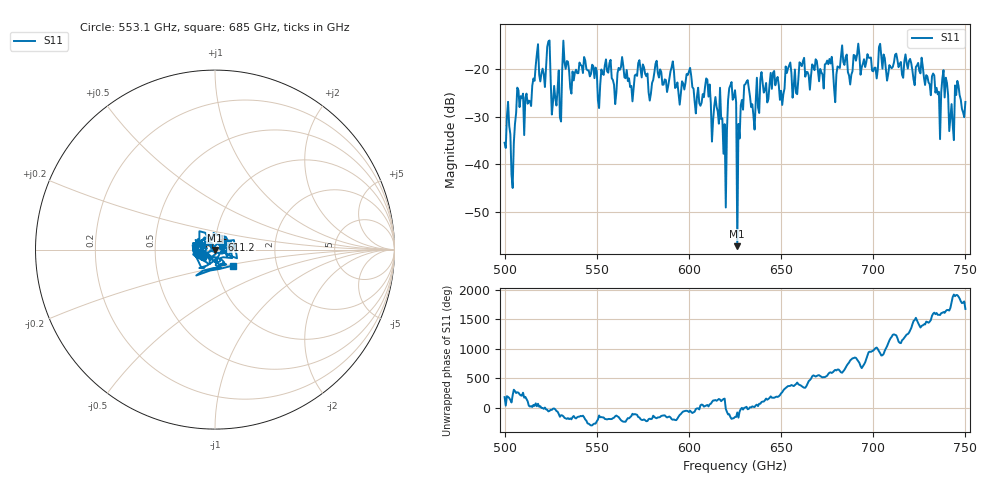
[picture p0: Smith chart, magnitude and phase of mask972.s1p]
!Created with skrf (http://scikit-rf.org).
# GHz S MA R 50.0
!freq magS11 angS11
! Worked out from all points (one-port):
!   401 points, 500 GHz to 750 GHz, reference 50 ohm
!   lowest |S11| = -57.3 dB at 626.2 GHz (marker M1), VSWR 1.00, Z = 50 - j0.136 ohm
!   |S11| at or under -10 dB: start of sweep to end of sweep
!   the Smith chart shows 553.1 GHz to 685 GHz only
!   S11 on the Smith chart (normalised r, x): 553.1 GHz: 0.84, -0.04; 611.2 GHz: 1.08, +0.12; 685 GHz: 1.20, -0.22
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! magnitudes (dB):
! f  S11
! 500 GHz  -35.5
! 504.4 GHz  -45.0
! 507.5 GHz  -24.4
! 513.8 GHz  -26.8
! 516.9 GHz  -19.3
! 523.8 GHz  -14.1
! 526.9 GHz  -23.5
! 531.2 GHz  -20.1
! 533.1 GHz  -20.0
! 553.1 GHz  -20.9
! 562.5 GHz  -20.1
! 593.8 GHz  -22.8
! 611.2 GHz  -23.2
! 619.4 GHz  -31.6
! 623.8 GHz  -26.4
! 625 GHz  -24.4
! 626.2 GHz  -57.3
! 631.2 GHz  -22.6
! 635 GHz  -29.8
! 656.2 GHz  -26.0
! 685 GHz  -17.5
! 687.5 GHz  -23.2
! 718.8 GHz  -19.9
! 735 GHz  -25.3
! 738.8 GHz  -26.0
! 742.5 GHz  -27.4
! 745.6 GHz  -22.5
! 750 GHz  -26.9
